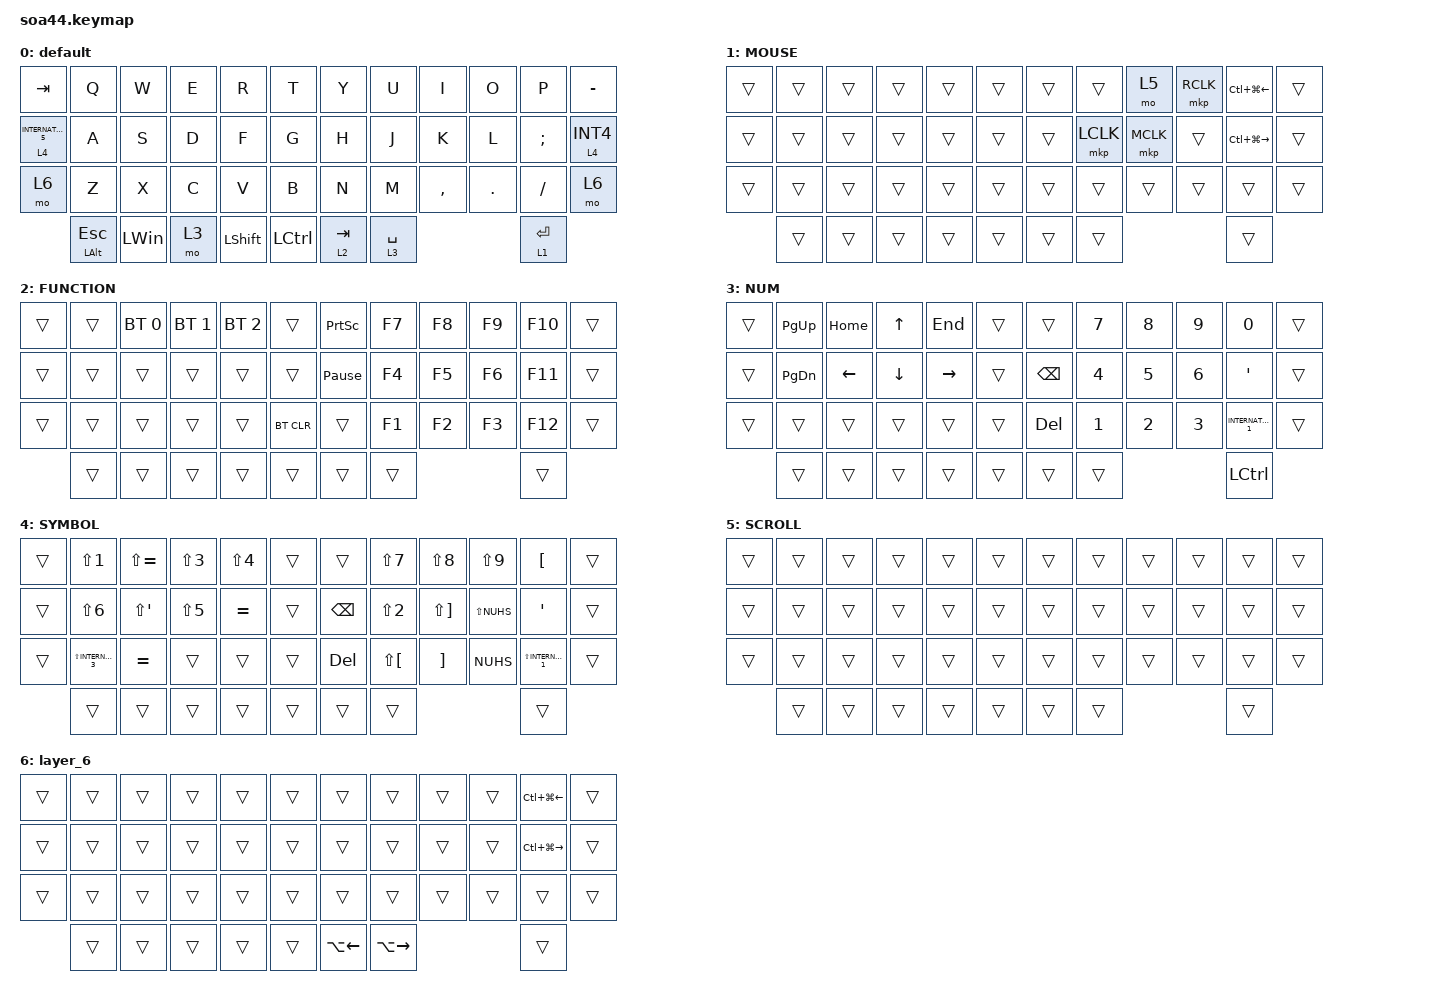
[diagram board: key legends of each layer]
#include <behaviors.dtsi>
#include <dt-bindings/zmk/bt.h>
#include <dt-bindings/zmk/keys.h>
#include <dt-bindings/zmk/pointing.h>

&mt {
    flavor = "balanced";
    quick-tap-ms = <0>;
};

&trackball {
    automouse-layer = <1>;
    scroll-layers = <5>;

    // arrows {
    //     layers = <3>;
    //     bindings =
    //         <&kp RIGHT_ARROW>,
    //         <&kp LEFT_ARROW>,
    //         <&kp UP_ARROW>,
    //         <&kp DOWN_ARROW>;
    //     tick = <10>;
    //     wait-ms = <5>;
    //     tap-ms = <5>;
    // };
};

/ {
    combos {
        compatible = "zmk,combos";

        tab {
            bindings = <&kp TAB>;
            key-positions = <11 12>;
        };

        shift_tab {
            bindings = <&kp LS(TAB)>;
            key-positions = <12 13>;
        };

        muhennkann {
            bindings = <&to_layer_0 INT_MUHENKAN>;
            key-positions = <11 10>;
        };

        double_quotation {
            bindings = <&kp DOUBLE_QUOTES>;
            key-positions = <20 21>;
        };

        eq {
            bindings = <&kp EQUAL>;
            key-positions = <24 25>;
        };
    };

    macros {
        to_layer_0: to_layer_0 {
            compatible = "zmk,behavior-macro-one-param";
            #binding-cells = <1>;
            bindings = <&to 0 &macro_param_1to1 &kp MACRO_PLACEHOLDER>;
            label = "TO_LAYER_0";
        };
    };

    behaviors {
        lt_to_layer_0: lt_to_layer_0 {
            compatible = "zmk,behavior-hold-tap";
            label = "LAYER_TAP_TO_0";
            bindings = <&mo>, <&to_layer_0>;

            #binding-cells = <2>;
            tapping-term-ms = <200>;
        };
    };

    keymap {
        compatible = "zmk,keymap";

        default {
            bindings = <
&kp TAB                &kp Q                &kp W         &kp E  &kp R           &kp T             &kp Y      &kp U        &kp I      &kp O       &kp P        &kp MINUS
&lt 4 INTERNATIONAL_5  &kp A                &kp S         &kp D  &kp F           &kp G             &kp H      &kp J        &kp K      &kp L       &kp SEMI     &lt 4 INT4
&mo 6                  &kp Z                &kp X         &kp C  &kp V           &kp B             &kp N      &kp M        &kp COMMA  &kp PERIOD  &kp SLASH    &mo 6
                       &mt LEFT_ALT ESCAPE  &kp LEFT_WIN  &mo 3  &kp LEFT_SHIFT  &kp LEFT_CONTROL  &lt 2 TAB  &lt 3 SPACE                         &lt 1 ENTER
            >;
        };

        MOUSE {
            bindings = <
&trans  &trans  &trans  &trans  &trans  &trans  &trans  &trans     &mo 5      &mkp RCLK  &kp LC(LG(LEFT_ARROW))  &trans
&trans  &trans  &trans  &trans  &trans  &trans  &trans  &mkp LCLK  &mkp MCLK  &trans     &kp LC(LG(RIGHT))       &trans
&trans  &trans  &trans  &trans  &trans  &trans  &trans  &trans     &trans     &trans     &trans                  &trans
        &trans  &trans  &trans  &trans  &trans  &trans  &trans                           &trans
            >;
        };

        FUNCTION {
            bindings = <
&trans  &trans  &bt BT_SEL 0  &bt BT_SEL 1  &bt BT_SEL 2  &trans      &kp PRINTSCREEN  &kp F7  &kp F8  &kp F9  &kp F10  &trans
&trans  &trans  &trans        &trans        &trans        &trans      &kp PAUSE_BREAK  &kp F4  &kp F5  &kp F6  &kp F11  &trans
&trans  &trans  &trans        &trans        &trans        &bt BT_CLR  &trans           &kp F1  &kp F2  &kp F3  &kp F12  &trans
        &trans  &trans        &trans        &trans        &trans      &trans           &trans                  &trans
            >;
        };

        NUM {
            bindings = <
&trans  &kp PG_UP      &kp HOME  &kp UP_ARROW  &kp END    &trans  &trans         &kp N7        &kp N8        &kp N9        &kp N0               &trans
&trans  &kp PAGE_DOWN  &kp LEFT  &kp DOWN      &kp RIGHT  &trans  &kp BACKSPACE  &kp N4        &kp N5        &kp N6        &kp SINGLE_QUOTE     &trans
&trans  &trans         &trans    &trans        &trans     &trans  &kp DEL        &kp NUMBER_1  &kp NUMBER_2  &kp NUMBER_3  &kp INTERNATIONAL_1  &trans
        &trans         &trans    &trans        &trans     &trans  &trans         &trans                                    &kp LCTRL
            >;
        };

        SYMBOL {
            bindings = <
&trans  &kp LS(N1)               &kp LS(EQUAL)  &kp LS(NUMBER_3)  &kp LS(NUMBER_4)  &trans  &trans         &kp LS(N7)            &kp LS(N8)             &kp LS(N9)    &kp LEFT_BRACKET         &trans
&trans  &kp LS(NUMBER_6)         &kp LS(SQT)    &kp LS(N5)        &kp EQUAL         &trans  &kp BACKSPACE  &kp LS(NUMBER_2)      &kp LS(RIGHT_BRACKET)  &kp LS(NUHS)  &kp SQT                  &trans
&trans  &kp LS(INTERNATIONAL_3)  &kp EQUAL      &trans            &trans            &trans  &kp DELETE     &kp LS(LEFT_BRACKET)  &kp RIGHT_BRACKET      &kp NUHS      &kp LS(INTERNATIONAL_1)  &trans
        &trans                   &trans         &trans            &trans            &trans  &trans         &trans                                                     &trans
            >;
        };

        SCROLL {
            bindings = <
&trans  &trans  &trans  &trans  &trans  &trans  &trans  &trans  &trans  &trans  &trans  &trans
&trans  &trans  &trans  &trans  &trans  &trans  &trans  &trans  &trans  &trans  &trans  &trans
&trans  &trans  &trans  &trans  &trans  &trans  &trans  &trans  &trans  &trans  &trans  &trans
        &trans  &trans  &trans  &trans  &trans  &trans  &trans                  &trans
            >;
        };

        layer_6 {
            bindings = <
&trans  &trans  &trans  &trans  &trans  &trans  &trans              &trans               &trans  &trans  &kp LC(LG(LEFT_ARROW))   &trans
&trans  &trans  &trans  &trans  &trans  &trans  &trans              &trans               &trans  &trans  &kp LC(LG(RIGHT_ARROW))  &trans
&trans  &trans  &trans  &trans  &trans  &trans  &trans              &trans               &trans  &trans  &trans                   &trans
        &trans  &trans  &trans  &trans  &trans  &kp LA(LEFT_ARROW)  &kp LA(RIGHT_ARROW)                  &trans
            >;
        };
    };
};
